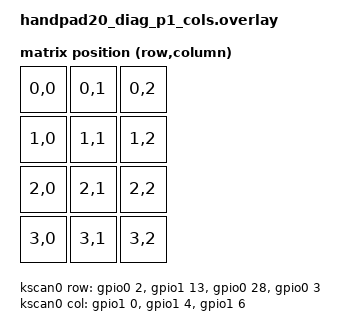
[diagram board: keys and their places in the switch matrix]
#include <dt-bindings/zmk/matrix_transform.h>

/ {
    chosen {
        zmk,kscan = &kscan0;
        zmk,matrix_transform = &default_transform;
    };

    kscan0: kscan {
        compatible = "zmk,kscan-gpio-matrix";
        label = "KSCAN";

        diode-direction = "col2row";

        /*
         * P1-only column diagnostic:
         * physical right-board columns 1, 2 and 4 should be these pins.
         */
        col-gpios = <&gpio1 0 GPIO_ACTIVE_HIGH>,   /* COL12 / physical col 1 */
                    <&gpio1 4 GPIO_ACTIVE_HIGH>,   /* COL13 / physical col 2 */
                    <&gpio1 6 GPIO_ACTIVE_HIGH>;   /* COL15 / physical col 4 */

        row-gpios = <&gpio0 2 (GPIO_ACTIVE_HIGH | GPIO_PULL_DOWN)>,  /* ROW1 */
                    <&gpio1 13 (GPIO_ACTIVE_HIGH | GPIO_PULL_DOWN)>, /* ROW2 */
                    <&gpio0 28 (GPIO_ACTIVE_HIGH | GPIO_PULL_DOWN)>, /* ROW3 */
                    <&gpio0 3 (GPIO_ACTIVE_HIGH | GPIO_PULL_DOWN)>;  /* ROW4 */
    };

    default_transform: keymap_transform0 {
        compatible = "zmk,matrix-transform";
        columns = <3>;
        rows = <4>;

        map = <
            RC(0,0) RC(0,1) RC(0,2)
            RC(1,0) RC(1,1) RC(1,2)
            RC(2,0) RC(2,1) RC(2,2)
            RC(3,0) RC(3,1) RC(3,2)
        >;
    };
};
